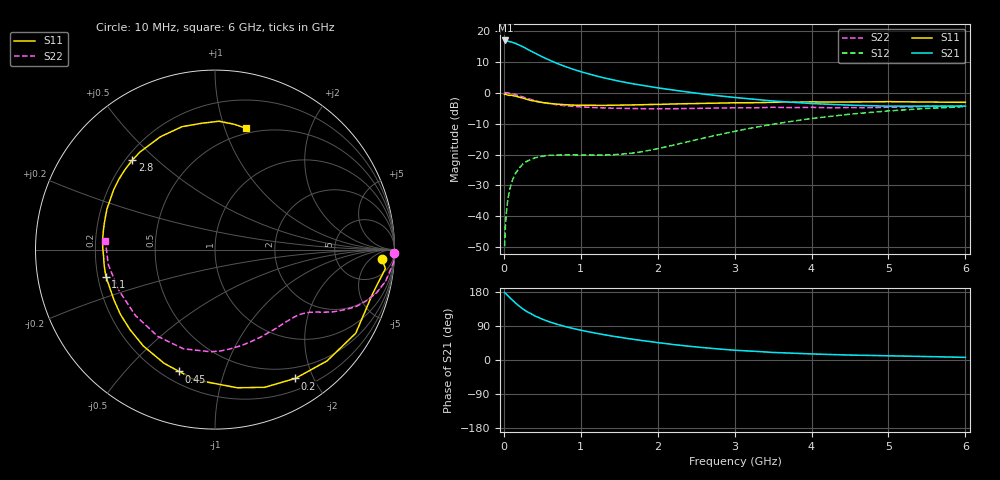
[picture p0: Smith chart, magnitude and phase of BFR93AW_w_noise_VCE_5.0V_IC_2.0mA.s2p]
! Infineon Technologies  Discrete & RF Semiconductors
! BFR93AW
! VCE =  5.0 V,  IC =  2.0 mA
! Common Emitter S-Parameters:  Jan 2017
# GHz  S  MA  R  50
!  f  S11  S21  S12  S22
! GHz  MAG  ANG  MAG  ANG  MAG  ANG  MAG  ANG
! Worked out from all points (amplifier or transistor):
!   77 points, 10 MHz to 6 GHz, reference 50 ohm
!   highest |S21| = 16.9 dB at 20 MHz (marker M1)
!   |S21| within 3 dB of that: start of sweep to 319.5 MHz
!   unconditionally stable (mu >= 1): 1.283 GHz to 2.265 GHz
!   at 130 MHz: K = 0.10, MSG = 21.7 dB, |S12| = -27.3 dB
!   at 2.2 GHz: K = 1.02, MAG = 8.0 dB, |S12| = -17.0 dB
!   at 6 GHz: K = 0.96, MSG = 0.1 dB, |S12| = -4.5 dB
!   lowest NFmin = 1.49 dB at 450 MHz
!   S11 on the Smith chart (normalised r, x): 10 MHz: 17, -14; 200 MHz: 0.35, -1.75; 450 MHz: 0.26, -0.71; 1.1 GHz: 0.23, -0.12; 2.8 GHz: 0.23, +0.42; 6 GHz: 0.45, +1.19
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0.01  0.9338 -3.3  6.85 178.1  0.0033 90.8  1 -1.0
0.02  0.9551 -6.4  6.976 176.1  0.0066 87.5  1 -2.4
0.05  0.9125 -15.4  6.81 170.0  0.0179 80.5  0.9899 -5.4
0.1  0.9122 -30.7  6.599 160.1  0.035 73.7  0.9667 -10.5
0.15  0.8801 -44.8  6.263 150.7  0.0491 66.1  0.9308 -15.1
0.2  0.8457 -58.1  5.878 142.1  0.0604 59.8  0.89 -18.7
0.25  0.8155 -70.2  5.498 134.3  0.0708 53.8  0.8499 -21.8
0.3  0.7795 -80.9  5.086 127.7  0.078 49.0  0.8091 -24.2
0.4  0.7335 -99.1  4.39 116.5  0.0881 42.1  0.7454 -27.7
0.45  0.7077 -106.4  4.079 112.4  0.0908 39.7  0.7204 -28.9
0.5  0.6942 -114.1  3.792 107.7  0.0937 37.4  0.6957 -30.1
0.6  0.6694 -126.6  3.326 100.2  0.0975 34.3  0.6603 -31.8
0.7  0.6504 -136.7  2.943 93.8  0.0979 32.7  0.6338 -33.4
0.9  0.6292 -153.3  2.388 83.2  0.0986 31.8  0.6 -36.7
1.1  0.6262 -166.1  2.014 74.5  0.0982 34.3  0.5803 -40.3
1.6  0.6308 170.4  1.448 57.0  0.1033 48.0  0.556 -51.7
2.1  0.6496 152.5  1.149 43.5  0.1328 62.3  0.5492 -65.5
2.8  0.6783 132.8  0.888 29.0  0.2098 68.7  0.5652 -86.6
3.1  0.6861 125.2  0.815 24.7  0.2509 67.0  0.5685 -95.6
4.1  0.7074 103.2  0.659 15.4  0.3945 55.5  0.5745 -126.7
5.1  0.7128 86.8  0.604 10.7  0.5162 39.9  0.5826 -160.3
6  0.6976 75.6  0.606 7.0  0.5945 26.2  0.6118 175.7
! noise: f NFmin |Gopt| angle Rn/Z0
0.45  1.49  0.44  71  0.2
0.9  1.76  0.41  128  0.21
1.9  3.23  0.56  -159  0.25
2.4  4.18  0.62  -139  0.45
